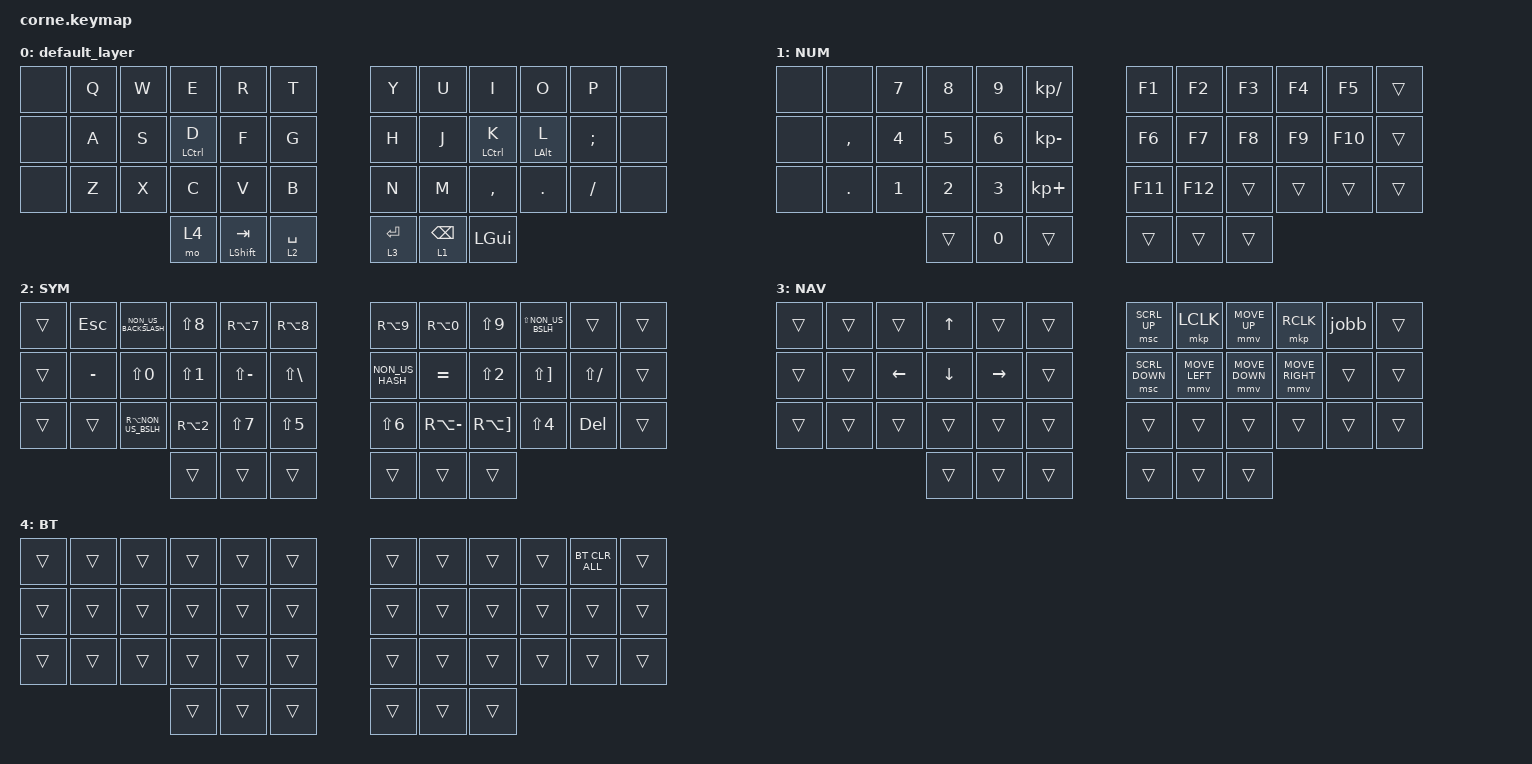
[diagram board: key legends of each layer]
/*
 * Copyright (c) 2020 The ZMK Contributors
 *
 * SPDX-License-Identifier: MIT
 */
#define ZMK_POINTING_DEFAULT_MOVE_VAL 1600  // default: 600
#define ZMK_POINTING_DEFAULT_SCRL_VAL 20    // default: 10
#include <behaviors.dtsi>
#include <dt-bindings/zmk/bt.h>
#include <dt-bindings/zmk/keys.h>
#include <dt-bindings/zmk/pointing.h>

&lt {
    tapping-term-ms = <250>;
    quick-tap-ms = <250>;
};

&mt {
    tapping-term-ms = <250>;
    quick-tap-ms = <250>;
    flavor = "tap-preferred";
};

/ {
    combos {
        compatible = "zmk,combos";

        asdas {
            bindings = <&kp LEFT_BRACKET>;
            key-positions = <9 10>;
        };

        fsdsdf {
            bindings = <&kp SINGLE_QUOTE>;
            key-positions = <21 22>;
        };
    };

    macros {
        jobb: macro {
            compatible = "zmk,behavior-macro";
            #binding-cells = <0>;
            bindings = <&kp N8 &kp N0 &kp N0 &kp N8 &kp N4 &kp N2 &kp N0 &kp N6 &kp ENTER>;
            label = "MACRO";
        };
    };

    keymap {
        compatible = "zmk,keymap";

        default_layer {
            // -----------------------------------------------------------------------------------------
            // |  TAB |  Q  |  W  |  E  |  R  |  T  |   |  Y  |  U   |  I  |  O  |  P  | BSPC |
            // | CTRL |  A  |  S  |  D  |  F  |  G  |   |  H  |  J   |  K  |  L  |  ;  |  '   |
            // | SHFT |  Z  |  X  |  C  |  V  |  B  |   |  N  |  M   |  ,  |  .  |  /  | ESC  |
            //                    | GUI | LWR | SPC |   | ENT | RSE  | ALT |

            bindings = <
&none  &kp Q  &kp W  &kp E        &kp R               &kp T          &kp Y        &kp U            &kp I         &kp O           &kp P      &none
&none  &kp A  &kp S  &mt LCTRL D  &kp F               &kp G          &kp H        &kp J            &mt LCTRL K   &mt LEFT_ALT L  &kp SEMI   &none
&none  &kp Z  &kp X  &kp C        &kp V               &kp B          &kp N        &kp M            &kp COMMA     &kp DOT         &kp SLASH  &none
                     &mo 4        &mt LEFT_SHIFT TAB  &lt 2 SPACE    &lt 3 ENTER  &lt 1 BACKSPACE  &kp LEFT_GUI
            >;
        };

        NUM {
            // -----------------------------------------------------------------------------------------
            // |  TAB |  1  |  2  |  3  |  4  |  5  |   |  6  |  7  |  8  |  9  |  0  | BSPC |
            // | BTCLR| BT1 | BT2 | BT3 | BT4 | BT5 |   | LFT | DWN |  UP | RGT |     |      |
            // | SHFT |     |     |     |     |     |   |     |     |     |     |     |      |
            //                    | GUI |     | SPC |   | ENT |     | ALT |

            bindings = <
&none  &none       &kp N7        &kp N8        &kp N9        &kp KP_SLASH    &kp F1   &kp F2   &kp F3  &kp F4  &kp F5   &trans
&none  &kp COMMA   &kp NUMBER_4  &kp NUMBER_5  &kp NUMBER_6  &kp KP_MINUS    &kp F6   &kp F7   &kp F8  &kp F9  &kp F10  &trans
&none  &kp PERIOD  &kp NUMBER_1  &kp NUMBER_2  &kp NUMBER_3  &kp KP_PLUS     &kp F11  &kp F12  &trans  &trans  &trans   &trans
                                 &trans        &kp NUMBER_0  &trans          &trans   &trans   &trans
            >;
        };

        SYM {
            // -----------------------------------------------------------------------------------------
            // |  TAB |  !  |  @  |  #  |  $  |  %  |   |  ^  |  &  |  *  |  (  |  )  | BSPC |
            // | CTRL |     |     |     |     |     |   |  -  |  =  |  [  |  ]  |  \  |  `   |
            // | SHFT |     |     |     |     |     |   |  _  |  +  |  {  |  }  | "|" |  ~   |
            //                    | GUI |     | SPC |   | ENT |     | ALT |

            bindings = <
&trans  &kp ESCAPE  &kp NON_US_BACKSLASH  &kp LS(NUMBER_8)  &kp RA(N7)     &kp RA(N8)           &kp RA(N9)        &kp RA(N0)     &kp LS(N9)             &kp LS(NON_US_BSLH)    &trans         &trans
&trans  &kp MINUS   &kp LS(N0)            &kp LS(NUMBER_1)  &kp LS(MINUS)  &kp LS(BACKSLASH)    &kp NON_US_HASH   &kp EQUAL      &kp LS(N2)             &kp LS(RIGHT_BRACKET)  &kp LS(SLASH)  &trans
&trans  &trans      &kp RA(NON_US_BSLH)   &kp RA(NUMBER_2)  &kp LS(N7)     &kp LS(N5)           &kp LS(NUMBER_6)  &kp RA(MINUS)  &kp RA(RIGHT_BRACKET)  &kp LS(NUMBER_4)       &kp DEL        &trans
                                          &trans            &trans         &trans               &trans            &trans         &trans
            >;
        };

        NAV {
            bindings = <
&trans  &trans  &trans    &kp UP_ARROW  &trans     &trans    &msc SCRL_UP    &mkp LCLK       &mmv MOVE_UP    &mkp RCLK        &jobb   &trans
&trans  &trans  &kp LEFT  &kp DOWN      &kp RIGHT  &trans    &msc SCRL_DOWN  &mmv MOVE_LEFT  &mmv MOVE_DOWN  &mmv MOVE_RIGHT  &trans  &trans
&trans  &trans  &trans    &trans        &trans     &trans    &trans          &trans          &trans          &trans           &trans  &trans
                          &trans        &trans     &trans    &trans          &trans          &trans
            >;
        };

        BT {
            bindings = <
&trans  &trans  &trans  &trans  &trans  &trans    &trans  &trans  &trans  &trans  &bt BT_CLR_ALL  &trans
&trans  &trans  &trans  &trans  &trans  &trans    &trans  &trans  &trans  &trans  &trans          &trans
&trans  &trans  &trans  &trans  &trans  &trans    &trans  &trans  &trans  &trans  &trans          &trans
                        &trans  &trans  &trans    &trans  &trans  &trans
            >;
        };
    };
};
